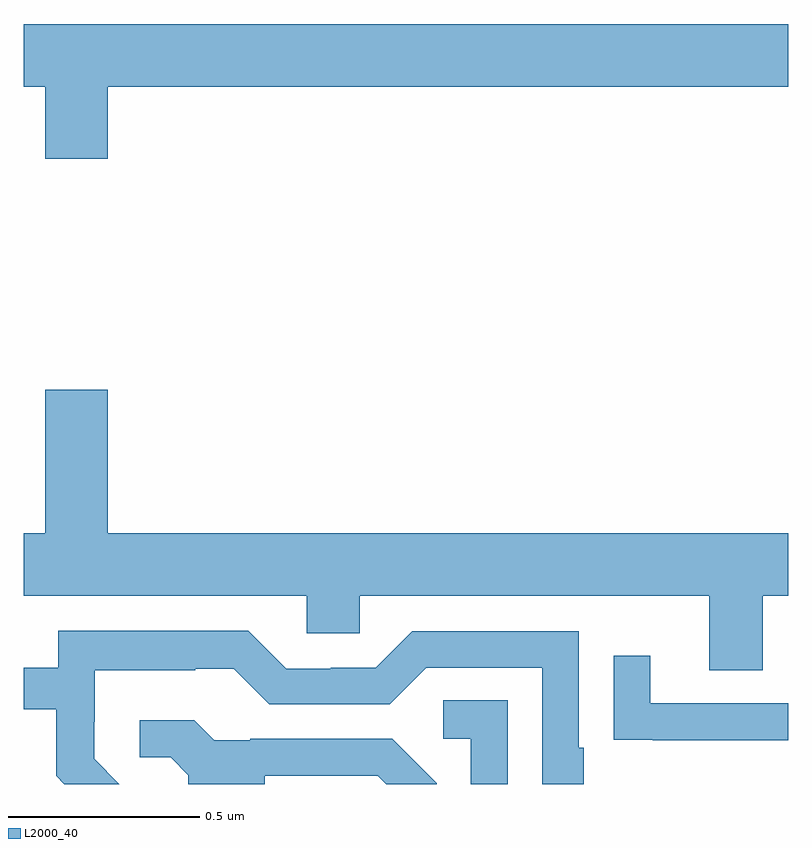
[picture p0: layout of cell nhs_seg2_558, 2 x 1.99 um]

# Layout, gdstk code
import gdstk
lib = gdstk.Library(unit=1e-6, precision=1e-09)
def P(c, l, *ps):  # polygons
    for p in ps: c.add(gdstk.Polygon(p, *l))
L2000_40 = (2000, 40)

nhs_seg2_558 = lib.new_cell('nhs_seg2_558')
P(nhs_seg2_558, L2000_40, [(117.22,659.624),(119,659.624),(119,659.788),(117,659.788),(117,659.624),(117.056,659.624),(117.056,659.436),(117.22,659.436)],
  [(118.933,658.292),(119,658.292),(119,658.456),(117.22,658.456),(117.22,658.831),(117.056,658.831),(117.056,658.456),(117,658.456),(117,658.292),(117.741,658.292),(117.741,658.194),(117.879,658.194),(117.879,658.292),(118.793,658.292),(118.793,658.098),(118.933,658.098)],
  [(117.184,657.866),(117.184,657.963),(117.186,657.963),(117.186,658.097),(117.449,658.097),(117.449,658.101),(117.549,658.101),(117.642,658.008),(117.957,658.008),(118.053,658.104),(118.356,658.104),(118.356,657.8),(118.465,657.8),(118.465,657.895),(118.452,657.895),(118.452,658.2),(118.017,658.2),(117.921,658.104),(117.803,658.104),(117.803,658.101),(117.687,658.101),(117.587,658.201),(117.09,658.201),(117.09,658.104),(117,658.104),(117,657.996),(117.085,657.996),(117.085,657.821),(117.106,657.8),(117.25,657.8)],
  [(119,658.011),(118.639,658.011),(118.639,658.135),(118.543,658.135),(118.543,657.916),(118.645,657.916),(118.645,657.915),(119,657.915)],
  [(118.266,658.019),(118.098,658.019),(118.098,657.918),(118.17,657.918),(118.17,657.8),(118.266,657.8)],
  [(117.631,657.822),(117.926,657.822),(117.948,657.8),(118.08,657.8),(118.08,657.802),(117.964,657.918),(117.592,657.918),(117.592,657.915),(117.498,657.915),(117.446,657.967),(117.303,657.967),(117.303,657.87),(117.384,657.87),(117.431,657.823),(117.431,657.8),(117.631,657.8)])

lib.write_gds('nhs_seg2_558.gds')
